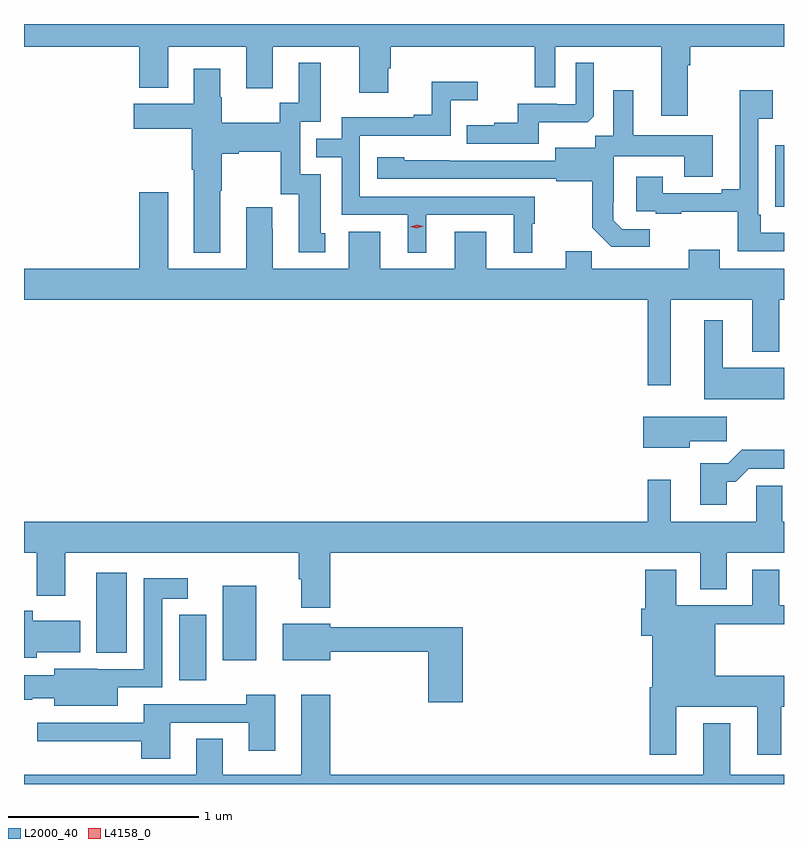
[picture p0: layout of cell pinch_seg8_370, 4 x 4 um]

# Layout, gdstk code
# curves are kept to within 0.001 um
import gdstk
lib = gdstk.Library(unit=1e-6, precision=1e-09)
def R(c, l, rs):  # rectangles x0, y0, x1, y1
    for r in rs: c.add(gdstk.rectangle(r[:2], r[2:], *l))
def P(c, l, *ps):  # polygons
    for p in ps: c.add(gdstk.Polygon(p, *l))
L2000_40 = (2000, 40)
L4158_0 = (4158, 0)

pinch_seg8_370 = lib.new_cell('pinch_seg8_370')
R(pinch_seg8_370, L2000_40, [(445.961,1109.169,446.104,1109.515), (446.192,1109.276,446.368,1109.668), (445.526,1109.315,445.687,1109.737), (449.1,1111.661,449.145,1111.987)])
P(pinch_seg8_370, L2000_40, [(448.639,1112.408),(448.652,1112.408),(448.652,1112.504),(449.145,1112.504),(449.145,1112.624),(445.145,1112.624),(445.145,1112.504),(445.751,1112.504),(445.751,1112.288),(445.903,1112.288),(445.903,1112.504),(446.315,1112.504),(446.315,1112.286),(446.455,1112.286),(446.455,1112.504),(446.909,1112.504),(446.909,1112.262),(447.061,1112.262),(447.061,1112.391),(447.074,1112.391),(447.074,1112.504),(447.834,1112.504),(447.834,1112.29),(447.942,1112.29),(447.942,1112.504),(448.499,1112.504),(448.499,1112.142),(448.639,1112.142)],
  [(446.179,1111.747),(446.187,1111.747),(446.187,1111.94),(446.275,1111.94),(446.275,1111.952),(446.495,1111.952),(446.495,1111.728),(446.591,1111.728),(446.591,1111.422),(446.731,1111.422),(446.731,1111.524),(446.707,1111.524),(446.707,1111.833),(446.598,1111.833),(446.598,1112.109),(446.707,1112.109),(446.707,1112.419),(446.591,1112.419),(446.591,1112.21),(446.49,1112.21),(446.49,1112.104),(446.187,1112.104),(446.187,1112.238),(446.179,1112.238),(446.179,1112.389),(446.039,1112.389),(446.039,1112.203),(445.722,1112.203),(445.722,1112.074),(446.027,1112.074),(446.027,1111.856),(446.039,1111.856),(446.039,1111.421),(446.179,1111.421)],
  [(447.853,1112.108),(448.111,1112.108),(448.143,1112.139),(448.143,1112.419),(448.05,1112.419),(448.05,1112.202),(447.95,1112.202),(447.95,1112.205),(447.743,1112.205),(447.743,1112.104),(447.619,1112.104),(447.619,1112.092),(447.475,1112.092),(447.475,1111.995),(447.853,1111.995)],
  [(447.262,1111.62),(447.722,1111.62),(447.722,1111.421),(447.82,1111.421),(447.82,1111.572),(447.832,1111.572),(447.832,1111.716),(446.913,1111.716),(446.913,1112.037),(447.39,1112.037),(447.39,1112.222),(447.532,1112.222),(447.532,1112.321),(447.292,1112.321),(447.292,1112.146),(447.197,1112.146),(447.197,1112.133),(446.817,1112.133),(446.817,1112.019),(446.683,1112.019),(446.683,1111.923),(446.817,1111.923),(446.817,1111.62),(447.164,1111.62),(447.164,1111.421),(447.262,1111.421)],
  [(449.145,1111.525),(449.023,1111.525),(449.023,1111.621),(449.01,1111.621),(449.01,1112.126),(449.086,1112.126),(449.086,1112.275),(448.913,1112.275),(448.913,1111.753),(448.817,1111.753),(448.817,1111.734),(448.507,1111.734),(448.507,1111.819),(448.367,1111.819),(448.367,1111.638),(448.471,1111.638),(448.471,1111.626),(448.603,1111.626),(448.603,1111.637),(448.902,1111.637),(448.902,1111.428),(449.145,1111.428)],
  [(448.438,1111.545),(448.293,1111.545),(448.246,1111.592),(448.246,1111.687),(448.248,1111.687),(448.248,1111.928),(448.619,1111.928),(448.619,1111.819),(448.771,1111.819),(448.771,1112.038),(448.351,1112.038),(448.351,1112.275),(448.247,1112.275),(448.247,1112.036),(448.152,1112.036),(448.152,1111.972),(447.941,1111.972),(447.941,1111.905),(447.147,1111.906),(447.147,1111.924),(447.003,1111.924),(447.003,1111.809),(447.945,1111.809),(447.945,1111.797),(448.137,1111.797),(448.137,1111.551),(448.237,1111.451),(448.438,1111.451)],
  [(448.549,1111.172),(448.979,1111.172),(448.979,1110.899),(449.119,1110.899),(449.119,1111.172),(449.145,1111.172),(449.145,1111.336),(448.807,1111.336),(448.807,1111.435),(448.643,1111.435),(448.643,1111.336),(448.133,1111.336),(448.133,1111.427),(447.995,1111.427),(447.995,1111.336),(447.577,1111.336),(447.577,1111.531),(447.413,1111.531),(447.413,1111.336),(447.019,1111.336),(447.019,1111.531),(446.855,1111.531),(446.855,1111.336),(446.455,1111.336),(446.455,1111.547),(446.452,1111.547),(446.452,1111.66),(446.315,1111.66),(446.315,1111.336),(445.903,1111.336),(445.903,1111.738),(445.751,1111.738),(445.751,1111.336),(445.145,1111.336),(445.145,1111.172),(448.428,1111.172),(448.428,1110.723),(448.549,1110.723)],
  [(449.145,1110.814),(448.822,1110.814),(448.822,1111.066),(448.724,1111.066),(448.724,1110.65),(449.145,1110.65)],
  [(448.648,1110.427),(448.843,1110.427),(448.843,1110.556),(448.404,1110.556),(448.404,1110.395),(448.648,1110.395)],
  [(448.843,1110.215),(448.892,1110.215),(448.959,1110.282),(449.145,1110.282),(449.145,1110.383),(448.922,1110.383),(448.852,1110.313),(448.703,1110.313),(448.703,1110.093),(448.843,1110.093)],
  [(446.756,1109.84),(448.703,1109.84),(448.703,1109.65),(448.843,1109.65),(448.843,1109.84),(449.145,1109.84),(449.145,1110.004),(449.137,1110.004),(449.137,1110.194),(448.998,1110.194),(448.998,1110.004),(448.549,1110.004),(448.549,1110.226),(448.428,1110.226),(448.428,1110.004),(445.145,1110.004),(445.145,1109.84),(445.211,1109.84),(445.211,1109.616),(445.363,1109.616),(445.363,1109.84),(446.591,1109.84),(446.591,1109.702),(446.603,1109.702),(446.603,1109.552),(446.756,1109.552)],
  [(448.579,1109.03),(449.003,1109.03),(449.003,1108.779),(449.131,1108.779),(449.131,1109.03),(449.145,1109.03),(449.145,1109.194),(448.783,1109.194),(448.783,1109.464),(449.145,1109.464),(449.145,1109.565),(449.119,1109.565),(449.119,1109.752),(448.979,1109.752),(448.979,1109.565),(448.579,1109.565),(448.579,1109.752),(448.415,1109.752),(448.415,1109.547),(448.394,1109.547),(448.394,1109.405),(448.451,1109.405),(448.451,1109.134),(448.439,1109.134),(448.439,1108.779),(448.579,1108.779)],
  [(445.639,1109.133),(445.872,1109.133),(445.872,1109.6),(446.008,1109.6),(446.008,1109.707),(445.776,1109.707),(445.776,1109.229),(445.53,1109.229),(445.53,1109.23),(445.304,1109.23),(445.304,1109.197),(445.145,1109.197),(445.145,1109.068),(445.188,1109.068),(445.188,1109.075),(445.304,1109.075),(445.304,1109.036),(445.639,1109.036)],
  [(445.212,1109.318),(445.441,1109.318),(445.441,1109.482),(445.192,1109.482),(445.192,1109.535),(445.145,1109.535),(445.145,1109.288),(445.212,1109.288)],
  [(447.455,1109.449),(446.758,1109.449),(446.758,1109.467),(446.507,1109.467),(446.507,1109.276),(446.758,1109.276),(446.758,1109.32),(447.272,1109.32),(447.272,1109.055),(447.455,1109.055)],
  [(445.915,1108.947),(446.327,1108.947),(446.327,1108.8),(446.467,1108.8),(446.467,1109.095),(446.315,1109.095),(446.315,1109.043),(445.775,1109.043),(445.775,1108.947),(445.215,1108.947),(445.215,1108.85),(445.763,1108.85),(445.763,1108.758),(445.915,1108.758)],
  [(449.145,1108.672),(448.861,1108.672),(448.861,1108.945),(448.721,1108.945),(448.721,1108.672),(446.756,1108.672),(446.756,1109.095),(446.603,1109.095),(446.603,1108.672),(446.191,1108.672),(446.191,1108.862),(446.051,1108.862),(446.051,1108.672),(445.145,1108.672),(445.145,1108.624),(449.145,1108.624)])
P(pinch_seg8_370, L4158_0, [(447.213,1111.548),(447.177,1111.557),(447.177,1111.557),(447.177,1111.558),(447.213,1111.568),(447.249,1111.559),(447.249,1111.559),(447.249,1111.559)])

lib.write_gds('pinch_seg8_370.gds')
